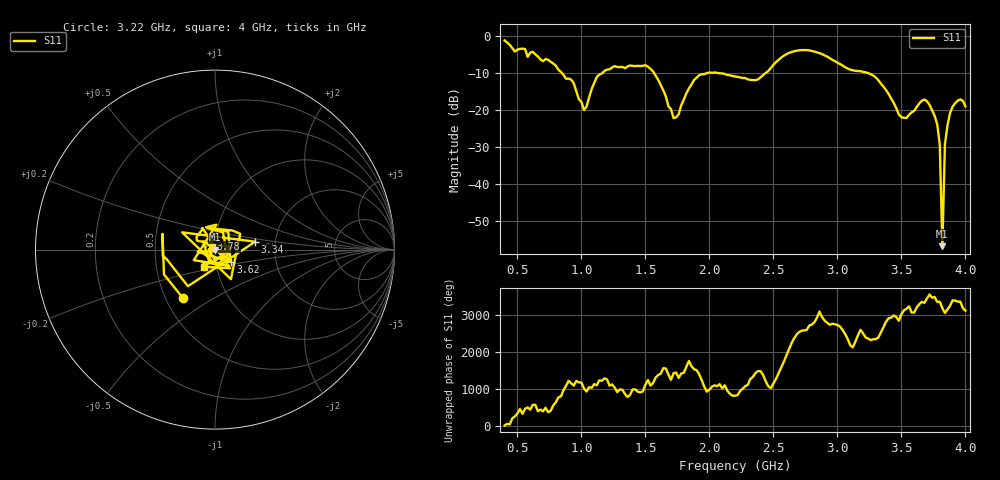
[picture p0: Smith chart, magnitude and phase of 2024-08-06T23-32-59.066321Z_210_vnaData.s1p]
!Created with skrf (http://scikit-rf.org).
# Hz S RI R 50.0
!freq ReS11 ImS11
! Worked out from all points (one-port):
!   181 points, 400 MHz to 4 GHz, reference 50 ohm
!   lowest |S11| = -56.7 dB at 3.82 GHz (marker M1), VSWR 1.00, Z = 50.1 - j0.119 ohm
!   |S11| at or under -10 dB: 1.568 GHz to 1.981 GHz (412.9 MHz wide, 23.3 % of centre); 2.072 GHz to 2.439 GHz (366.9 MHz wide, 16.3 % of centre); 3.24 GHz to end of sweep (the widest 3 of 4)
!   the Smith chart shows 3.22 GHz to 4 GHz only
!   S11 on the Smith chart (normalised r, x): 3.22 GHz: 0.61, -0.37; 3.34 GHz: 1.57, +0.15; 3.62 GHz: 1.18, -0.16; 3.78 GHz: 0.95, +0.12; 4 GHz: 0.87, -0.17
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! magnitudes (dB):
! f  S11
! 400 MHz  -1.2
! 860 MHz  -10.5
! 940 MHz  -12.7
! 1.02 GHz  -19.9
! 1.12 GHz  -11.0
! 1.3 GHz  -8.4
! 1.52 GHz  -8.3
! 1.6 GHz  -11.8
! 1.72 GHz  -22.1
! 1.76 GHz  -21.1
! 1.92 GHz  -10.6
! 2.2 GHz  -10.9
! 2.38 GHz  -11.7
! 2.66 GHz  -4.1
! 3.1 GHz  -9.1
! 3.22 GHz  -9.8
! 3.34 GHz  -12.8
! 3.48 GHz  -21.1
! 3.56 GHz  -21.2
! 3.62 GHz  -19.1
! 3.7 GHz  -17.6
! 3.78 GHz  -23.8
! 3.8 GHz  -29.4
! 3.82 GHz  -56.7
! 3.84 GHz  -29.2
! 3.86 GHz  -24.1
! 3.92 GHz  -18.1
! 4 GHz  -19.0
